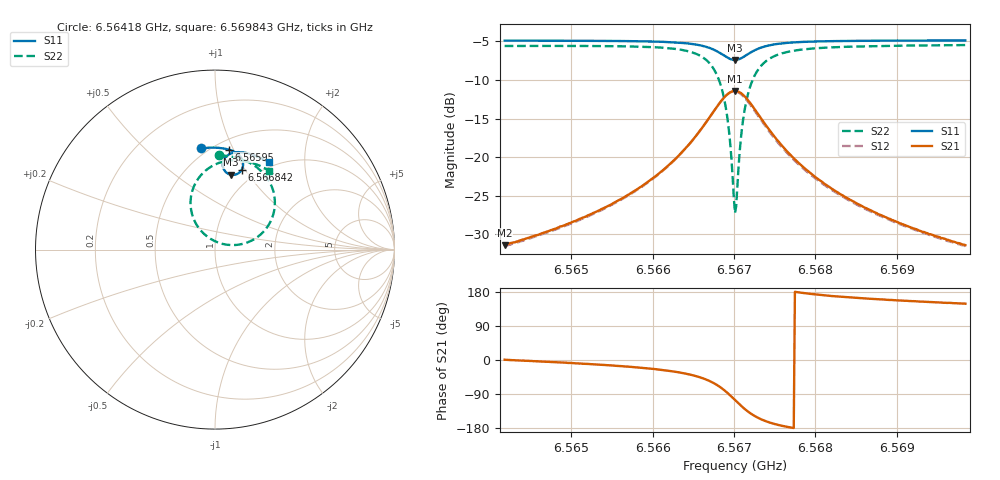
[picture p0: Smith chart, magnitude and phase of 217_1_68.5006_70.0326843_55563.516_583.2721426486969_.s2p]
#  HZ  S  RI  R  50.00
! Rohde & Schwarz Vector Network Analyzer
! Rohde-Schwarz,ZNB20-2Port,1311601062101988,3.16
! Created: UTC 3/20/2024, 4:58:16 PM
! freq[Hz]  re:S11  im:S11  re:S21  im:S21  re:S12  im:S12  re:S22  im:S22
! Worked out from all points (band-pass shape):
!   401 points, 6.56418 GHz to 6.569843 GHz, reference 50 ohm
!   highest |S21| = -11.41 dB at 6.567012 GHz (marker M1); lowest = -31.4 dB at 6.56418 GHz (marker M2)
!   |S21| within 3 dB of the highest: 6.566727 GHz to 6.567294 GHz (567 kHz wide, 0.00863 % of centre)
!   lowest |S11| = -7.4 dB at 6.567012 GHz (marker M3), VSWR 2.49, Z = 40.6 + j41.4 ohm
!   |S11| at or under -10 dB: nowhere
!   |S22| runs from -27.3 to -5.5 dB; largest |S21 - S12| = 0.013
!   S11 on the Smith chart (normalised r, x): 6.56418 GHz: 0.46, +0.76; 6.56595 GHz: 0.59, +0.96; 6.566842 GHz: 0.85, +0.96; 6.569843 GHz: 0.93, +1.34
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6.5641804e9  -0.0761 0.564  0.0268 0.000357  0.0264 -0.000271  0.0233 0.5254
6.5651288e9  0.000871 0.5681  0.0397 -0.00672  0.0391 -0.00737  0.1114 0.514
6.5659498e9  0.0759 0.5575  0.0644 -0.0265  0.0633 -0.0272  0.2126 0.4723
6.5660772e9  0.089 0.5533  0.0708 -0.0335  0.0697 -0.0342  0.2333 0.4582
6.5663745e9  0.1223 0.536  0.0901 -0.0624  0.0888 -0.0636  0.289 0.4008
6.566601e9  0.1481 0.5073  0.1043 -0.1121  0.1021 -0.1144  0.3297 0.3046
6.5667426e9  0.1566 0.4745  0.0974 -0.1694  0.0933 -0.1726  0.3243 0.1953
6.5668417e9  0.1484 0.4442  0.066 -0.2214  0.0587 -0.2241  0.2686 0.0981
6.5668841e9  0.1386 0.4317  0.0407 -0.242  0.0317 -0.2439  0.2223 0.0604
6.5669266e9  0.1244 0.4218  0.00757 -0.2576  -0.00274 -0.2575  0.1621 0.0339
6.5669974e9  0.0937 0.4164  -0.0588 -0.2619  -0.0699 -0.2573  0.0439 0.0313
6.5670115e9  0.0875 0.4173  -0.0723 -0.2588  -0.0832 -0.2533  0.0203 0.0383
6.5670398e9  0.0753 0.4215  -0.0979 -0.2488  -0.1079 -0.2413  -0.0235 0.0591
6.5670823e9  0.06 0.4323  -0.1307 -0.2256  -0.1385 -0.2159  -0.0773 0.1042
6.5671248e9  0.0496 0.4467  -0.1541 -0.1963  -0.1593 -0.1856  -0.1134 0.1586
6.5671814e9  0.0435 0.4675  -0.1704 -0.1549  -0.1724 -0.1447  -0.1347 0.2323
6.5672522e9  0.0459 0.4906  -0.1731 -0.1097  -0.1723 -0.1008  -0.1307 0.3113
6.5673654e9  0.0609 0.5163  -0.1575 -0.059  -0.1548 -0.0528  -0.0923 0.397
6.567507e9  0.084 0.5332  -0.1312 -0.0245  -0.1286 -0.0207  -0.0352 0.4535
6.56796e9  0.1447 0.5427  -0.0766 0.00809  -0.0748 0.00929  0.0916 0.4976
6.5689084e9  0.231 0.5204  -0.037 0.0146  -0.0363 0.0148  0.2211 0.4783
6.5698427e9  0.299 0.4865  -0.0229 0.014  -0.0224 0.014  0.3006 0.4402
